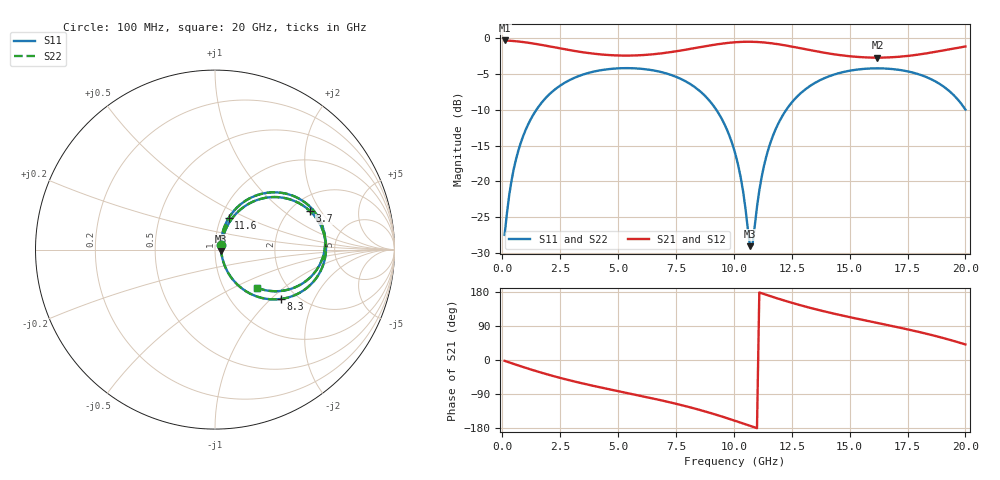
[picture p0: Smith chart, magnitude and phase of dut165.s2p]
! Touchstone file exported from HFSS 2026.1.0
!  File:  C:/ffzhzh/LocalFiles/Ansys_Project_Files/temp_train_TSV_RDL_165_1783054560_36532.aedt
!  Generated:  01:15:18 PM Jul  3, 2026
!  Design:  TSV_RDL
!  Project:  temp_train_TSV_RDL_165_1783054560_36532
! Variables:
!  h_bsmrdl = 2.36um
!  h_ox = 20um
!  h_rdl = 5um
!  h_sub = 87.02um
!  h_tmrdl = 3.61um
!  h_tsv = 87.02um
!  h_via = 3um
!  l_bsmrdl = 346.58um
!  l_sub = 5357.15um
!  l_tmrdl = 946.39um
!  m_sub = 200um
!  pitch = 50.98um
!  r_tsv = 4.1um
!  s_tmrdl = 10um
!  w_bsmrdl = 29.6um
!  w_sub = 500um
!  w_tmrdl = 14.35um
!  x_tsv_center1 = 953.565um
!  x_tsv_center2 = 1329.745um
!  x_tsv_center3 = 2290.485um
!  x_tsv_center4 = 2666.665um
!  x_tsv_center5 = 3627.405um
!  x_tsv_center6 = 4003.585um
# GHz S MA R 50.000000
! Terminal data exported
! Port[1] = TM_RDL1_1_T1
! Port[2] = TM_RDL5_1_T1
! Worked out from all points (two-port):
!   200 points, 100 MHz to 20 GHz, reference 50 ohm
!   highest |S21| = -0.31 dB at 100 MHz (marker M1); lowest = -2.7 dB at 16.2 GHz (marker M2)
!   |S21| within 3 dB of the highest: start of sweep to end of sweep
!   lowest |S11| = -29.0 dB at 10.7 GHz (marker M3), VSWR 1.07, Z = 53.6 - j0.835 ohm
!   |S11| at or under -10 dB: start of sweep to 1.472 GHz; 9.243 GHz to 12.26 GHz (3.021 GHz wide, 28.1 % of centre)
!   |S22| runs from -29.1 to -4.2 dB; largest |S21 - S12| = 1.6e-14
!   S11 on the Smith chart (normalised r, x): 100 MHz: 1.07, +0.05; 3.7 GHz: 2.52, +1.60; 8.3 GHz: 1.65, -1.15; 11.6 GHz: 1.09, +0.40; 20 GHz: 1.43, -0.68
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0.1  0.04232 33.2  0.9652 -2.2  0.9652 -2.2  0.04232 33.2
! Gamma 0 0 0 0
! Port Impedance 50 0 50 0
0.5  0.1232 61.9  0.9559 -10.5  0.9559 -10.5  0.1232 61.9
1.1  0.2471 58.7  0.9315 -22.4  0.9315 -22.4  0.2471 58.7
2.1  0.4157 44.4  0.8737 -40.7  0.8737 -40.7  0.4157 44.4
3.5  0.5586 24.7  0.7973 -62.3  0.7973 -62.3  0.5586 24.7
3.7  0.5713 22.0  0.7891 -65.1  0.7891 -65.1  0.5713 22.0
5.3  0.6186 2.2  0.7567 -86.0  0.7567 -86.0  0.6186 2.2
6.8  0.5838 -16.3  0.7818 -105.5  0.7818 -105.5  0.5838 -16.3
8.3  0.4575 -37.0  0.8527 -127.9  0.8527 -127.9  0.4575 -37.0
9.4  0.2881 -53.4  0.9131 -147.5  0.9131 -147.5  0.2881 -53.5
10.1  0.1482 -60.4  0.939 -161.4  0.939 -161.4  0.1482 -60.5
10.4  0.08509 -56.2  0.9442 -167.5  0.9442 -167.5  0.08501 -56.4
10.7  0.03531 -12.7  0.9452 -173.7  0.9452 -173.7  0.035 -13.0
10.8  0.03585 22.4  0.9446 -175.7  0.9446 -175.7  0.03551 22.5
11.2  0.1072 66.2  0.9374 176.1  0.9374 176.1  0.107 66.4
11.6  0.1905 66.6  0.9234 168.0  0.9234 168.0  0.1903 66.7
12.3  0.3225 57.9  0.887 154.7  0.887 154.7  0.3224 57.9
13.4  0.4767 41.8  0.82 136.0  0.82 136.0  0.4767 41.9
16.2  0.6165 6.7  0.7322 97.8  0.7322 97.8  0.6164 6.7
16.7  0.6122 0.8  0.7352 91.4  0.7352 91.4  0.6122 0.8
18.7  0.5002 -24.3  0.8035 63.5  0.8035 63.5  0.5002 -24.3
20  0.3176 -42.2  0.876 41.0  0.876 41.0  0.3177 -42.1
